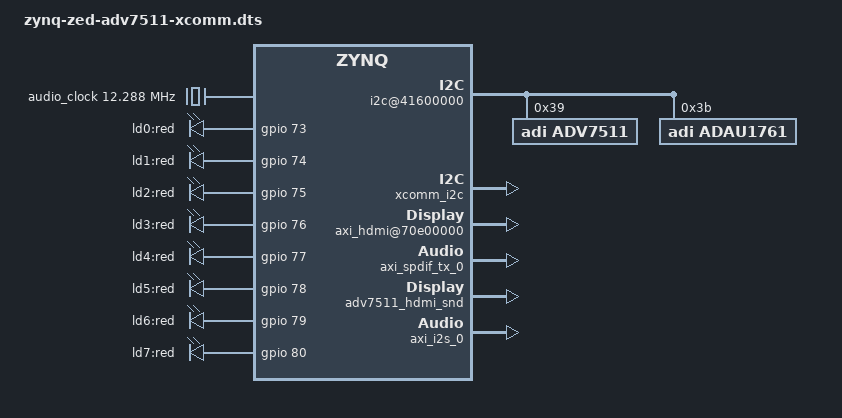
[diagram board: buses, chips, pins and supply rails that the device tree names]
/dts-v1/;

/include/ "zynq-zed.dtsi"

/ {
	fpga_axi: fpga-axi@0 {
		compatible = "simple-bus";
		#address-cells = <0x1>;
		#size-cells = <0x1>;
		ranges;

		i2c@41600000 {
			compatible = "xlnx,axi-iic-1.01.b", "xlnx,xps-iic-2.00.a";
			interrupt-parent = <&gic>;
			interrupts = <0 58 0x4>;
			reg = <0x41600000 0x10000>;

			#size-cells = <0>;
			#address-cells = <1>;

			adv7511: adv7511@39 {
				compatible = "adi,adv7511";
				reg = <0x39>;

				adi,input-style = <0x02>;
				adi,input-id = <0x01>;
				adi,input-color-depth = <0x3>;
				adi,sync-pulse = <0x03>;
				adi,bit-justification = <0x01>;
				adi,up-conversion = <0x00>;
				adi,timing-generation-sequence = <0x00>;
				adi,vsync-polarity = <0x02>;
				adi,hsync-polarity = <0x02>;
				adi,tdms-clock-inversion;
				adi,clock-delay = <0x03>;
			};

			adau1761: adau1761@3b {
				compatible = "adi,adau1761";
				reg = <0x3b>;
			};
		};

		xcomm_i2c: i2c@41620000 {
			compatible = "xlnx,axi-iic-1.01.b", "xlnx,xps-iic-2.00.a";
			interrupt-parent = <&gic>;
			interrupts = <0 55 0x4>;
			reg = <0x41620000 0x10000>;

			#size-cells = <0>;
			#address-cells = <1>;
		};

		axi_vdma_0: axivdma@43020000 {
			#address-cells = <1>;
			#size-cells = <1>;
			#dma-cells = <1>;
			compatible = "xlnx,axi-vdma";
			reg = <0x43020000 0x1000>;
			xlnx,include-sg = <0x0>;
			xlnx,num-fstores = <0x3>;
			dma-channel@43020000 {
				compatible = "xlnx,axi-vdma-mm2s-channel";
				interrupts = <0 59 0x4>;
				xlnx,datawidth = <0x40>;
				xlnx,genlock-mode = <0x0>;
				xlnx,include-dre = <0x0>;
			};
		};

		hdmi_clock: axi-clkgen@79000000 {
			compatible = "adi,axi-clkgen-2.00.a";
			reg = <0x79000000 0x10000>;
			#clock-cells = <0>;
			clocks = <&clkc 17>;
		};

		axi_hdmi@70e00000 {
			compatible = "adi,axi-hdmi-tx-1.00.a";
			reg = <0x70e00000 0x10000>;
			encoder-slave = <&adv7511>;
			dmas = <&axi_vdma_0 0>;
			dma-names = "video";
			clocks = <&hdmi_clock>;
		};

		audio_clock: audio_clock {
			compatible = "fixed-clock";
			#clock-cells = <0>;
			clock-frequency = <12288000>;
		};

		axi_spdif_tx_0: axi-spdif-tx@0x75c00000 {
			compatible = "adi,axi-spdif-tx-1.00.a";
			reg = <0x75c00000 0x1000>;
			dmas = <&ps7_dma 0>;
			dma-names = "tx";
			clocks = <&clkc 15 &audio_clock>;
			clock-names = "axi", "spdif";
		};

		adv7511_hdmi_snd: adv7511_hdmi_snd {
			compatible = "adv7511-hdmi-snd";
			audio-codec = <&adv7511>;
			cpu-dai = <&axi_spdif_tx_0>;
		};

		axi_i2s_0: axi-i2s@0x77600000 {
			compatible = "adi,axi-i2s-1.00.a";
			reg = <0x77600000 0x1000>;
			dmas = <&ps7_dma 1 &ps7_dma 2>;
			dma-names = "tx", "rx";
			clocks = <&clkc 15 &audio_clock>;
			clock-names = "axi", "i2s";
		};

		zed_sound {
			compatible = "digilent,zed-sound";
			audio-codec = <&adau1761>;
			cpu-dai = <&axi_i2s_0>;
		};

		dma_tx: dma@7c400000 {
			compatible = "adi,axi-dmac-1.00.a";
			reg = <0x7c400000 0x10000>;
			#dma-cells = <1>;
			interrupts = <0 57 0>;
			clocks = <&clkc 16>;

			dma-channel {
				adi,buswidth = <64>;
				adi,type = <0>;
			};
		};

		dma_rx: dma@7c420000 {
			compatible = "adi,axi-dmac-1.00.a";
			reg = <0x7c420000 0x10000>;
			#dma-cells = <1>;
			interrupts = <0 56 0>;
			clocks = <&clkc 16>;

			dma-channel {
				adi,buswidth = <64>;
				adi,type = <1>;
			};
		};

		cf_ad9643_core_0: cf-ad9643-core-lpc@79020000 {
			compatible = "adi,axi-ad9643-6.00.a";
			reg = <0x79020000 0x10000 >;
			dmas = <&dma_tx 0>;
			dma-names = "rx";
			spibus-connected = <&adc0_ad9467>;
			xlnx,dphase-timeout = <0x8>;
			xlnx,num-mem = <0x1>;
			xlnx,num-reg = <0x1>;
			xlnx,s-axi-min-size = <0x1ff>;
			xlnx,slv-awidth = <0x20>;
			xlnx,slv-dwidth = <0x20>;
			xlnx,use-wstrb = <0x0>;
		};

		cf_ad9122_core_0: cf-ad9122-core-lpc@74204000 {
			compatible = "adi,axi-ad9122-6.00.a";
			reg = <0x74204000 0x10000>;
			spibus-connected = <&dac0_ad9122>;
			dmas = <&dma_rx 0>;
			dma-names = "tx";
			xlnx,dphase-timeout = <0x8>;
			xlnx,num-mem = <0x1>;
			xlnx,num-reg = <0x1>;
			xlnx,s-axi-min-size = <0x1ff>;
			xlnx,slv-awidth = <0x20>;
			xlnx,slv-dwidth = <0x20>;
			xlnx,use-wstrb = <0x0>;
		};
	};

	leds {
		compatible = "gpio-leds";
		ld0 {
			label = "ld0:red";
			gpios = <&gpio 73 0>;
		};

		ld1 {
			label = "ld1:red";
			gpios = <&gpio 74 0>;
		};

		ld2 {
			label = "ld2:red";
			gpios = <&gpio 75 0>;
		};

		ld3 {
			label = "ld3:red";
			gpios = <&gpio 76 0>;
		};

		ld4 {
			label = "ld4:red";
			gpios = <&gpio 77 0>;
		};

		ld5 {
			label = "ld5:red";
			gpios = <&gpio 78 0>;
		};

		ld6 {
			label = "ld6:red";
			gpios = <&gpio 79 0>;
		};

		ld7 {
			label = "ld7:red";
			gpios = <&gpio 80 0>;
		};
	};
};

/include/ "adi-fmcomms1.dtsi"
